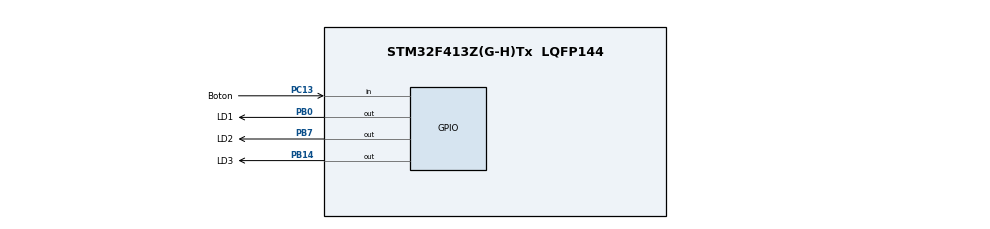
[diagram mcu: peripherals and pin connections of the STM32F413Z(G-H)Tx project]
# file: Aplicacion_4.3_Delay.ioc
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Mcu.Family=STM32F4
Mcu.Name=STM32F413Z(G-H)Tx
Mcu.Package=LQFP144
NVIC.PriorityGroup=NVIC_PRIORITYGROUP_4
PB0.GPIO_Label=LD1
PB0.Signal=GPIO_Output
PB14.GPIO_Label=LD3
PB14.Signal=GPIO_Output
PB7.GPIO_Label=LD2
PB7.Signal=GPIO_Output
PC13.GPIO_Label=Boton
PC13.Signal=GPIO_Input
PH0\ -\ OSC_IN.Mode=HSE-External-Oscillator
PH0\ -\ OSC_IN.Signal=RCC_OSC_IN
PH1\ -\ OSC_OUT.Mode=HSE-External-Oscillator
PH1\ -\ OSC_OUT.Signal=RCC_OSC_OUT
ProjectManager.HeapSize=0x200
ProjectManager.StackSize=0x400
ProjectManager.TargetToolchain=STM32CubeIDE
RCC.CortexFreq_Value=16000000
RCC.USBFreq_Value=96000000
RCC.VCOOutputFreq_Value=192000000
board=custom

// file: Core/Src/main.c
/* USER CODE BEGIN Header */
/**
  ******************************************************************************
  * @file           : main.c
  * @brief          : Main program body
  ******************************************************************************
  * @attention
  *
  * Copyright (c) 2026 STMicroelectronics.
  * All rights reserved.
  *
  * This software is licensed under terms that can be found in the LICENSE file
  * in the root directory of this software component.
  * If no LICENSE file comes with this software, it is provided AS-IS.
  *
  ******************************************************************************
  */
/* USER CODE END Header */
#include "main.h"
#include "API_GPIO.h"
#include "API_Delay.h"

/* USER CODE BEGIN PD */
#define SEC1_TIEMPO   150   /* sec 1: paso de LED a LED          */
#define SEC2_TIEMPO   300   /* sec 2: los 3 LEDs juntos          */
#define SEC3_LD1      100   /* sec 3: periodo propio de LD1      */
#define SEC3_LD2      300   /* sec 3: periodo propio de LD2      */
#define SEC3_LD3      600   /* sec 3: periodo propio de LD3      */
#define SEC4_TIEMPO   150   /* sec 4: LD1/LD3 inversos a LD2     */
/* USER CODE END PD */

void SystemClock_Config(void);
//static void MX_GPIO_Init(void);

int main(void)
{

  /* MCU Configuration--------------------------------------------------------*/

  /* Reset of all peripherals, Initializes the Flash interface and the Systick. */
  HAL_Init();

  /* USER CODE BEGIN Init */
   uint16_t leds[3] = {LD1_Pin, LD2_Pin, LD3_Pin}; //vector de leds
   buttonStatus_t Boton;       // estado actual del boton en cada vuelta ( driver)
   buttonStatus_t Boton_Anterior = false; // guarda cómo estaba el boton en la vuelta anterior, arranca en false (no apretado)
   uint8_t secuencia=0; // 0=Sec1, 1=Sec2, 2=Sec3, 3=Sec4
   uint8_t paso = 0;       // paso actual de la Sec1 (0 a 5): par = prende, impar = apaga

   //para cada temporizacion que necesito
    delay_t delaySec1;      // Sec1: 150 ms entre pasos
    delay_t delaySec2;      // Sec2: 300 ms para los 3 juntos
    delay_t delayLD1;       // Sec3: 100 ms para LD1
    delay_t delayLD2;       // Sec3: 300 ms para LD2
    delay_t delayLD3;       // Sec3: 600 ms para LD3
    delay_t delaySec4;      // Sec4: 150 ms

    //solo carga la duracion, no arranca el conteo
      delayInit(&delaySec1, SEC1_TIEMPO);
      delayInit(&delaySec2, SEC2_TIEMPO);
      delayInit(&delayLD1, SEC3_LD1);
      delayInit(&delayLD2, SEC3_LD2);
      delayInit(&delayLD3, SEC3_LD3);
      delayInit(&delaySec4, SEC4_TIEMPO);
  /* USER CODE END Init */

  /* Configure the system clock */
  SystemClock_Config();

  /* Initialize all configured peripherals */
  MX_GPIO_Init();

  /* Infinite loop */
  while (1)
  {

    /* USER CODE BEGIN 3 */

	  Boton = readButton_GPIO(); //lectura del boton

		   if (Boton ==1 && Boton_Anterior == 0) //comparacion del estado
		   {
		    secuencia++;
		    if (secuencia>3)
		    {
			   secuencia=0;
			 }

		   // apaga los 3 leds para que la secuencia nueva arranque limpia
		    writeLedOff_GPIO(LD1_Pin);
		    writeLedOff_GPIO(LD2_Pin);
		    writeLedOff_GPIO(LD3_Pin);
		    // Reinicio el paso y todos los retardos (el conteo empieza de cero)
		         paso = 0;
		         delayInit(&delaySec1, SEC1_TIEMPO);
		         delayInit(&delaySec2, SEC2_TIEMPO);
		         delayInit(&delayLD1, SEC3_LD1);
		         delayInit(&delayLD2, SEC3_LD2);
		         delayInit(&delayLD3, SEC3_LD3);
		         delayInit(&delaySec4, SEC4_TIEMPO);

		    if (secuencia == 3)// Si la secuencia nueva es la 4, prendemos LD2 asi arranca en fase contraria a LD1/LD3
		    {
		     writeLedOn_GPIO(LD2_Pin);
		    }
		   }

		   Boton_Anterior= Boton; //guardo el estado para comparar en la proxima vuelta

		      if (secuencia == 0)
		      {
		        // Sec 1: cada LED prende y apaga (150 ms por paso).
		        if (delayRead(&delaySec1))           // true cuando pasaron los 150 ms
		        {
		          if (paso % 2 == 0)
		          {
		            writeLedOn_GPIO(leds[paso / 2]);   // paso par: prende el LED correspondiente
		          }
		          else
		          {
		            writeLedOff_GPIO(leds[paso / 2]);  // paso impar: apaga ese mismo LED
		          }

		          paso++;                              // avanzo al paso siguiente
		          if (paso >= 6)
		          {
		            paso = 0;                          // 3 LEDs x (prender + apagar) = 6 pasos
		          }
		        }
		      }

		   else if (secuencia == 1)
		   {
			   // Sec 2: los 3 LEDs parpadean juntos cada 300 ms
			        if (delayRead(&delaySec2))
			        {
			          toggleLed_GPIO(LD1_Pin);
			          toggleLed_GPIO(LD2_Pin);
			          toggleLed_GPIO(LD3_Pin);
			        }
			      }
		   else if (secuencia == 2)
		   {
			   // Sec 3: cada LED alterna con su tiempo (100 / 300 / 600 ms).
			         if (delayRead(&delayLD1)) { toggleLed_GPIO(LD1_Pin); }
			         if (delayRead(&delayLD2)) { toggleLed_GPIO(LD2_Pin); }
			         if (delayRead(&delayLD3)) { toggleLed_GPIO(LD3_Pin); }
		   }

		    else
		    {
		    	// Sec 4: LD1 y LD3 juntos inversos a LD2, alternando cada 150 ms.
		    	     if (delayRead(&delaySec4))
		    	     {
		    	       toggleLed_GPIO(LD1_Pin);
		    	       toggleLed_GPIO(LD3_Pin);
		    	       toggleLed_GPIO(LD2_Pin);
		    	     }
		    }
     }
}
  /* USER CODE END 3 */

void SystemClock_Config(void)
{
  RCC_OscInitTypeDef RCC_OscInitStruct = {0};
  RCC_ClkInitTypeDef RCC_ClkInitStruct = {0};

  /** Configure the main internal regulator output voltage
  */
  __HAL_RCC_PWR_CLK_ENABLE();
  __HAL_PWR_VOLTAGESCALING_CONFIG(PWR_REGULATOR_VOLTAGE_SCALE1);

  /** Initializes the RCC Oscillators according to the specified parameters
  * in the RCC_OscInitTypeDef structure.
  */
  RCC_OscInitStruct.OscillatorType = RCC_OSCILLATORTYPE_HSI;
  RCC_OscInitStruct.HSIState = RCC_HSI_ON;
  RCC_OscInitStruct.HSICalibrationValue = RCC_HSICALIBRATION_DEFAULT;
  RCC_OscInitStruct.PLL.PLLState = RCC_PLL_NONE;
  if (HAL_RCC_OscConfig(&RCC_OscInitStruct) != HAL_OK)
  {
    Error_Handler();
  }

  /** Initializes the CPU, AHB and APB buses clocks
  */
  RCC_ClkInitStruct.ClockType = RCC_CLOCKTYPE_HCLK|RCC_CLOCKTYPE_SYSCLK
                              |RCC_CLOCKTYPE_PCLK1|RCC_CLOCKTYPE_PCLK2;
  RCC_ClkInitStruct.SYSCLKSource = RCC_SYSCLKSOURCE_HSI;
  RCC_ClkInitStruct.AHBCLKDivider = RCC_SYSCLK_DIV1;
  RCC_ClkInitStruct.APB1CLKDivider = RCC_HCLK_DIV1;
  RCC_ClkInitStruct.APB2CLKDivider = RCC_HCLK_DIV1;

  if (HAL_RCC_ClockConfig(&RCC_ClkInitStruct, FLASH_LATENCY_0) != HAL_OK)
  {
    Error_Handler();
  }
}

void Error_Handler(void)
{
  __disable_irq();
  while (1)
  {
  }
}
